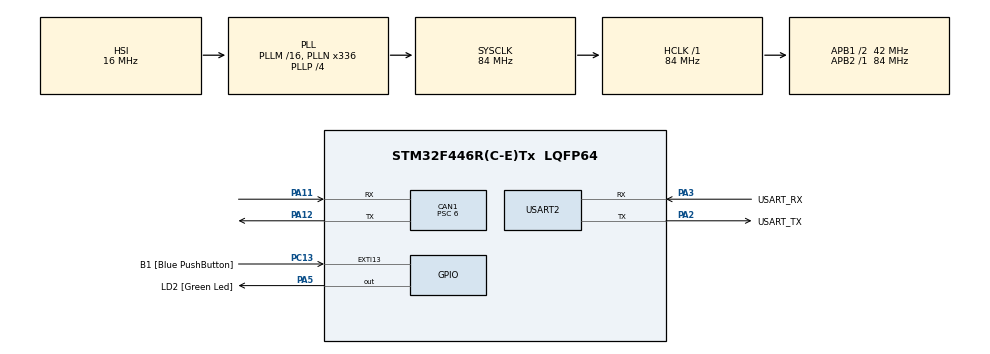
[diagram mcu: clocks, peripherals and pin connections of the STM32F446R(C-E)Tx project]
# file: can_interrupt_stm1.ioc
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CAN1.BS1=CAN_BS1_11TQ
CAN1.BS2=CAN_BS2_2TQ
CAN1.CalculateBaudRate=500000
CAN1.CalculateTimeBit=2000
CAN1.CalculateTimeQuantum=142.85714285714286
CAN1.NART=ENABLE
CAN1.Prescaler=6
Mcu.Family=STM32F4
Mcu.Name=STM32F446R(C-E)Tx
Mcu.Package=LQFP64
NVIC.CAN1_RX0_IRQn=true\:0\:0\:false\:false\:true\:true\:true\:true
NVIC.PriorityGroup=NVIC_PRIORITYGROUP_0
NVIC.USART2_IRQn=true\:0\:0\:false\:false\:true\:true\:true\:true
PA11.Mode=CAN_Activate
PA11.Signal=CAN1_RX
PA12.Mode=CAN_Activate
PA12.Signal=CAN1_TX
PA13.GPIO_Label=TMS
PA13.Mode=Serial_Wire
PA13.Signal=SYS_JTMS-SWDIO
PA14.GPIO_Label=TCK
PA14.Mode=Serial_Wire
PA14.Signal=SYS_JTCK-SWCLK
PA2.GPIO_Label=USART_TX
PA2.Mode=Asynchronous
PA2.Signal=USART2_TX
PA3.GPIO_Label=USART_RX
PA3.Mode=Asynchronous
PA3.Signal=USART2_RX
PA5.GPIO_Label=LD2 [Green Led]
PA5.Signal=GPIO_Output
PB3.GPIO_Label=SWO
PB3.Signal=SYS_JTDO-SWO
PC13.GPIO_Label=B1 [Blue PushButton]
PC13.GPIO_ModeDefaultEXTI=GPIO_MODE_IT_FALLING
PC13.Signal=GPXTI13
PC14-OSC32_IN.Mode=LSE-External-Oscillator
PC14-OSC32_IN.Signal=RCC_OSC32_IN
PC15-OSC32_OUT.Mode=LSE-External-Oscillator
PC15-OSC32_OUT.Signal=RCC_OSC32_OUT
PH0-OSC_IN.Mode=HSE-External-Oscillator
PH0-OSC_IN.Signal=RCC_OSC_IN
PH1-OSC_OUT.Mode=HSE-External-Oscillator
PH1-OSC_OUT.Signal=RCC_OSC_OUT
ProjectManager.HeapSize=0x200
ProjectManager.StackSize=0x400
ProjectManager.TargetToolchain=STM32CubeIDE
RCC.48MHZClocksFreq_Value=84000000
RCC.AHBFreq_Value=84000000
RCC.APB1CLKDivider=RCC_HCLK_DIV2
RCC.APB1Freq_Value=42000000
RCC.APB1TimFreq_Value=84000000
RCC.APB2Freq_Value=84000000
RCC.APB2TimFreq_Value=84000000
RCC.CortexFreq_Value=84000000
RCC.FLatency-AdvancedSettings=FLASH_LATENCY_2
RCC.HCLKFreq_Value=84000000
RCC.HSE_VALUE=8000000
RCC.HSI_VALUE=16000000
RCC.PLLN=336
RCC.PLLP=RCC_PLLP_DIV4
RCC.SYSCLKFreq_VALUE=84000000
RCC.SYSCLKSource=RCC_SYSCLKSOURCE_PLLCLK
RCC.USBFreq_Value=168000000
RCC.VCOOutputFreq_Value=336000000
USART2.VirtualMode=VM_ASYNC
board=NUCLEO-F446RE

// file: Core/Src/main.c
/* USER CODE BEGIN Header */
/**
  ******************************************************************************
  * @file           : main.c
  * @brief          : Main program body (Configured for STM_1)
  ******************************************************************************
  */
/* USER CODE END Header */
#include "main.h"

/* USER CODE BEGIN Includes */
#include <string.h>
#include <stdio.h>
#include <ctype.h>
/* USER CODE END Includes */

CAN_HandleTypeDef hcan1;
UART_HandleTypeDef huart2;

/* USER CODE BEGIN PV */

/* UART Buffer Variables */
char uart_rx_buffer[100];
uint8_t rx_byte;
uint8_t rx_index = 0;
uint8_t message_ready = 0;

/* CAN RX Buffer Variables */
char can_rx_buffer[100];
uint8_t can_rx_index = 0;

/* USER CODE END PV */

void SystemClock_Config(void);
static void MX_GPIO_Init(void);
static void MX_CAN1_Init(void);
static void MX_USART2_UART_Init(void);
/* USER CODE BEGIN PFP */
void CAN_Filter_Config(void);
void SendDynamicMessageViaCAN(char* msg);
/* USER CODE END PFP */

int main(void)
{
  /* MCU Configuration--------------------------------------------------------*/
  /* Reset of all peripherals, Initializes the Flash interface and the Systick. */
  HAL_Init();

  /* Configure the system clock */
  SystemClock_Config();

  /* Initialize all configured peripherals */
  MX_GPIO_Init();
  MX_CAN1_Init();
  MX_USART2_UART_Init();

  /* USER CODE BEGIN 2 */

  /* 1. Configure Hardware Filter for STM_1 (Accept only ID 0x101) */
  CAN_Filter_Config();

  /* 2. Start CAN Bus */
  if (HAL_CAN_Start(&hcan1) != HAL_OK)
  {
      Error_Handler();
  }

  /* 3. Activate CAN RX Interrupt */
  if (HAL_CAN_ActivateNotification(&hcan1, CAN_IT_RX_FIFO0_MSG_PENDING) != HAL_OK)
  {
      Error_Handler();
  }

  /* 4. Start UART RX Interrupt (Listen for first keystroke) */
  HAL_UART_Receive_IT(&huart2, &rx_byte, 1);

  /* Boot Message */
  char startMsg[] = "\r\n=== STM_1 Node Initialized ===\r\nType a message for stm_2 or stm_3...\r\n";
  HAL_UART_Transmit(&huart2, (uint8_t*)startMsg, strlen(startMsg), 100);

  /* USER CODE END 2 */

  /* Infinite loop */
  /* USER CODE BEGIN WHILE */
  while (1)
  {
      if (message_ready == 1)
      {
          // Send the assembled UART string over CAN
          SendDynamicMessageViaCAN(uart_rx_buffer);

          // Clear flag to accept next message
          message_ready = 0;
      }
  /* USER CODE END WHILE */

  }
}

void SystemClock_Config(void)
{
  RCC_OscInitTypeDef RCC_OscInitStruct = {0};
  RCC_ClkInitTypeDef RCC_ClkInitStruct = {0};

  __HAL_RCC_PWR_CLK_ENABLE();
  __HAL_PWR_VOLTAGESCALING_CONFIG(PWR_REGULATOR_VOLTAGE_SCALE3);

  RCC_OscInitStruct.OscillatorType = RCC_OSCILLATORTYPE_HSI;
  RCC_OscInitStruct.HSIState = RCC_HSI_ON;
  RCC_OscInitStruct.HSICalibrationValue = RCC_HSICALIBRATION_DEFAULT;
  RCC_OscInitStruct.PLL.PLLState = RCC_PLL_ON;
  RCC_OscInitStruct.PLL.PLLSource = RCC_PLLSOURCE_HSI;
  RCC_OscInitStruct.PLL.PLLM = 16;
  RCC_OscInitStruct.PLL.PLLN = 336;
  RCC_OscInitStruct.PLL.PLLP = RCC_PLLP_DIV4;
  RCC_OscInitStruct.PLL.PLLQ = 2;
  RCC_OscInitStruct.PLL.PLLR = 2;
  if (HAL_RCC_OscConfig(&RCC_OscInitStruct) != HAL_OK)
  {
    Error_Handler();
  }

  RCC_ClkInitStruct.ClockType = RCC_CLOCKTYPE_HCLK|RCC_CLOCKTYPE_SYSCLK
                              |RCC_CLOCKTYPE_PCLK1|RCC_CLOCKTYPE_PCLK2;
  RCC_ClkInitStruct.SYSCLKSource = RCC_SYSCLKSOURCE_PLLCLK;
  RCC_ClkInitStruct.AHBCLKDivider = RCC_SYSCLK_DIV1;
  RCC_ClkInitStruct.APB1CLKDivider = RCC_HCLK_DIV2;
  RCC_ClkInitStruct.APB2CLKDivider = RCC_HCLK_DIV1;

  if (HAL_RCC_ClockConfig(&RCC_ClkInitStruct, FLASH_LATENCY_2) != HAL_OK)
  {
    Error_Handler();
  }
}

static void MX_CAN1_Init(void)
{
  hcan1.Instance = CAN1;
  hcan1.Init.Prescaler = 6;
  hcan1.Init.Mode = CAN_MODE_NORMAL;
  hcan1.Init.SyncJumpWidth = CAN_SJW_1TQ;
  hcan1.Init.TimeSeg1 = CAN_BS1_11TQ;
  hcan1.Init.TimeSeg2 = CAN_BS2_2TQ;
  hcan1.Init.TimeTriggeredMode = DISABLE;
  hcan1.Init.AutoBusOff = DISABLE;
  hcan1.Init.AutoWakeUp = DISABLE;
  hcan1.Init.AutoRetransmission = ENABLE;
  hcan1.Init.ReceiveFifoLocked = DISABLE;
  hcan1.Init.TransmitFifoPriority = DISABLE;
  if (HAL_CAN_Init(&hcan1) != HAL_OK)
  {
    Error_Handler();
  }
}

static void MX_USART2_UART_Init(void)
{
  huart2.Instance = USART2;
  huart2.Init.BaudRate = 115200;
  huart2.Init.WordLength = UART_WORDLENGTH_8B;
  huart2.Init.StopBits = UART_STOPBITS_1;
  huart2.Init.Parity = UART_PARITY_NONE;
  huart2.Init.Mode = UART_MODE_TX_RX;
  huart2.Init.HwFlowCtl = UART_HWCONTROL_NONE;
  huart2.Init.OverSampling = UART_OVERSAMPLING_16;
  if (HAL_UART_Init(&huart2) != HAL_OK)
  {
    Error_Handler();
  }
}

static void MX_GPIO_Init(void)
{
  GPIO_InitTypeDef GPIO_InitStruct = {0};

  __HAL_RCC_GPIOC_CLK_ENABLE();
  __HAL_RCC_GPIOH_CLK_ENABLE();
  __HAL_RCC_GPIOA_CLK_ENABLE();
  __HAL_RCC_GPIOB_CLK_ENABLE();

  HAL_GPIO_WritePin(LD2_GPIO_Port, LD2_Pin, GPIO_PIN_RESET);

  GPIO_InitStruct.Pin = B1_Pin;
  GPIO_InitStruct.Mode = GPIO_MODE_IT_FALLING;
  GPIO_InitStruct.Pull = GPIO_NOPULL;
  HAL_GPIO_Init(B1_GPIO_Port, &GPIO_InitStruct);

  GPIO_InitStruct.Pin = LD2_Pin;
  GPIO_InitStruct.Mode = GPIO_MODE_OUTPUT_PP;
  GPIO_InitStruct.Pull = GPIO_NOPULL;
  GPIO_InitStruct.Speed = GPIO_SPEED_FREQ_LOW;
  HAL_GPIO_Init(LD2_GPIO_Port, &GPIO_InitStruct);
}

/* USER CODE BEGIN 4 */

void CAN_Filter_Config(void)
{
    CAN_FilterTypeDef canfilterconfig;

    canfilterconfig.FilterActivation = CAN_FILTER_ENABLE;
    canfilterconfig.FilterBank = 0;
    canfilterconfig.FilterFIFOAssignment = CAN_RX_FIFO0;

    /* Hardware Filter specifically for STM_1 (Accepts ONLY 0x101) */
    canfilterconfig.FilterIdHigh = 0x101 << 5;
    canfilterconfig.FilterIdLow = 0x0000;
    canfilterconfig.FilterMaskIdHigh = 0x7FF << 5; // Check all 11 bits of the ID
    canfilterconfig.FilterMaskIdLow = 0x0000;

    canfilterconfig.FilterMode = CAN_FILTERMODE_IDMASK;
    canfilterconfig.FilterScale = CAN_FILTERSCALE_32BIT;

    if (HAL_CAN_ConfigFilter(&hcan1, &canfilterconfig) != HAL_OK)
    {
        Error_Handler();
    }
}

void SendDynamicMessageViaCAN(char* msg)
{
    uint32_t target_id = 0;
    char temp_msg[100];

    // Copy the message and convert the copy to lowercase for checking
    strncpy(temp_msg, msg, sizeof(temp_msg));
    for(int i = 0; temp_msg[i]; i++) {
        temp_msg[i] = tolower((unsigned char)temp_msg[i]);
    }

    // Find destination
    if (strstr(temp_msg, "stm_1") != NULL) target_id = 0x101;
    else if (strstr(temp_msg, "stm_2") != NULL) target_id = 0x102;
    else if (strstr(temp_msg, "stm_3") != NULL) target_id = 0x103;
    else
    {
        char err[] = "Error: Target (stm_1, stm_2, stm_3) not found in message.\r\n";
        HAL_UART_Transmit(&huart2, (uint8_t*)err, strlen(err), 100);
        return;
    }

    CAN_TxHeaderTypeDef TxHeader;
    uint32_t TxMailbox;
    uint8_t TxData[8];

    TxHeader.StdId = target_id;
    TxHeader.ExtId = 0x00;
    TxHeader.IDE = CAN_ID_STD;
    TxHeader.RTR = CAN_RTR_DATA;
    TxHeader.TransmitGlobalTime = DISABLE;

    uint16_t len = strlen(msg);
    uint16_t offset = 0;

    // Echo what we are sending to the terminal
    char echo[150];
    sprintf(echo, "Sending to 0x%lX: %s\r\n", target_id, msg);
    HAL_UART_Transmit(&huart2, (uint8_t*)echo, strlen(echo), 100);

    // Break into 8-byte chunks
    while (offset < len + 1)
    {
        uint8_t chunk_size = (len + 1 - offset > 8) ? 8 : (len + 1 - offset);
        TxHeader.DLC = chunk_size;

        memset(TxData, 0, 8);
        memcpy(TxData, msg + offset, chunk_size);

        while (HAL_CAN_GetTxMailboxesFreeLevel(&hcan1) == 0);

        if (HAL_CAN_AddTxMessage(&hcan1, &TxHeader, TxData, &TxMailbox) != HAL_OK)
        {
            Error_Handler();
        }

        offset += chunk_size;
    }
}

void HAL_UART_RxCpltCallback(UART_HandleTypeDef *huart)
{
    if (huart->Instance == USART2)
    {
        // Check for Enter key (carriage return or newline)
        if (rx_byte == '\n' || rx_byte == '\r')
        {
            uart_rx_buffer[rx_index] = '\0';
            if (rx_index > 0)
            {
                message_ready = 1;
            }
            rx_index = 0;

            // Print a newline so the terminal looks clean
            uint8_t newline[] = "\r\n";
            HAL_UART_Transmit(&huart2, newline, 2, 10);
        }
        else
        {
            // Echo the character back so you can see what you are typing
            HAL_UART_Transmit(&huart2, &rx_byte, 1, 10);

            if (rx_index < 99)
            {
                uart_rx_buffer[rx_index++] = rx_byte;
            }
        }

        // Re-arm interrupt
        HAL_UART_Receive_IT(&huart2, &rx_byte, 1);
    }
}

void HAL_CAN_RxFifo0MsgPendingCallback(CAN_HandleTypeDef *hcan)
{
    CAN_RxHeaderTypeDef RxHeader;
    uint8_t RxData[8];

    if (HAL_CAN_GetRxMessage(hcan, CAN_RX_FIFO0, &RxHeader, RxData) == HAL_OK)
    {
        for(int i = 0; i < RxHeader.DLC; i++)
        {
            can_rx_buffer[can_rx_index++] = RxData[i];

            // If we hit null terminator OR buffer is full
            if(RxData[i] == '\0' || can_rx_index >= 99)
            {
                char printBuf[150];
                sprintf(printBuf, "\r\n[CAN RX from 0x%lX]: %s\r\n", RxHeader.StdId, can_rx_buffer);
                HAL_UART_Transmit(&huart2, (uint8_t*)printBuf, strlen(printBuf), 100);

                can_rx_index = 0;
                break;
            }
        }
    }
}

/* USER CODE END 4 */

void Error_Handler(void)
{
  __disable_irq();
  while (1)
  {
  }
}
